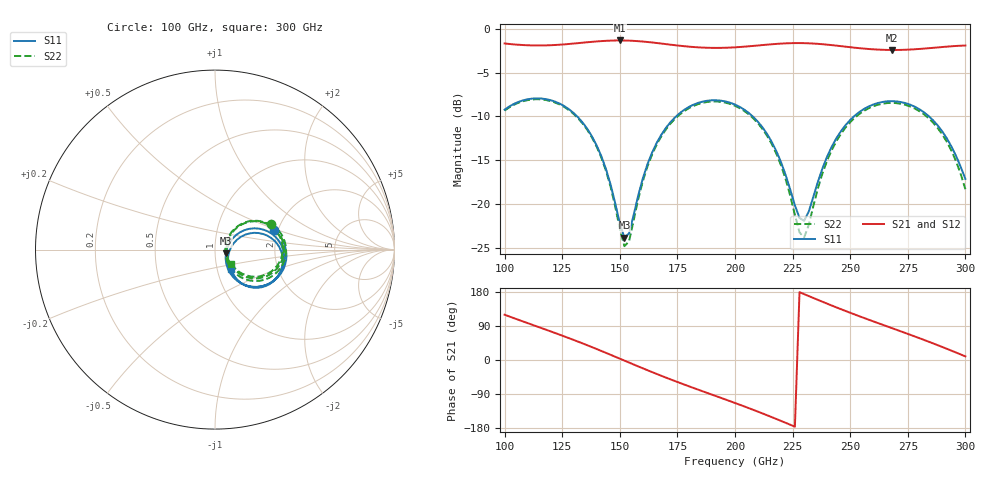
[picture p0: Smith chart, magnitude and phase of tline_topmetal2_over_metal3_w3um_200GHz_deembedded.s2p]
! Created with skrf 2.0.1 (http://scikit-rf.org).
# GHz S DB R 50.0
!freq dBS11 angS11 dBS21 angS21 dBS12 angS12 dBS22 angS22
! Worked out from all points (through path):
!   101 points, 100 GHz to 300 GHz, reference 50 ohm
!   highest |S21| = -1.33 dB at 150 GHz (marker M1); lowest = -2.4 dB at 268 GHz (marker M2)
!   group delay of S21, straight-line fit = 6.56 ps
!   lowest |S11| = -23.9 dB at 152 GHz (marker M3), VSWR 1.14, Z = 56.4 - j2.33 ohm
!   |S11| at or under -10 dB: 131.4 GHz to 174.5 GHz (43.03 GHz wide, 28.1 % of centre); 207.6 GHz to 251.7 GHz (44.03 GHz wide, 19.2 % of centre); 284.2 GHz to end of sweep
!   |S22| runs from -24.8 to -8.0 dB; largest |S21 - S12| = 9.1e-14
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100  -9.24 18.4  -1.67 119.5  -1.67 119.5  -9.34 24.8
118  -8.04 -15.8  -1.89 79.9  -1.89 79.9  -8.14 -8.6
134  -10.76 -45.4  -1.58 43.4  -1.58 43.4  -10.87 -37.8
144  -16.03 -57.2  -1.37 18.8  -1.37 18.8  -16.22 -50.1
150  -22.23 -40.2  -1.33 3.5  -1.33 3.5  -22.86 -33.9
152  -23.88 -18.8  -1.33 -1.6  -1.33 -1.6  -24.84 -10.8
154  -23.38 6.7  -1.35 -6.7  -1.35 -6.7  -24.30 17.9
162  -15.48 34.7  -1.50 -26.9  -1.50 -26.9  -15.74 46.7
168  -12.11 28.6  -1.68 -41.6  -1.68 -41.6  -12.29 40.3
184  -8.46 1.0  -2.12 -78.2  -2.12 -78.2  -8.60 12.6
200  -8.65 -28.0  -2.11 -113.4  -2.11 -113.4  -8.80 -16.3
216  -12.95 -53.1  -1.76 -150.9  -1.76 -150.9  -13.19 -42.5
228  -21.61 -28.0  -1.63 179.0  -1.63 179.0  -23.27 -18.4
230  -21.94 -9.0  -1.64 173.9  -1.64 173.9  -23.85 5.6
234  -19.20 18.7  -1.68 163.7  -1.68 163.7  -20.26 38.5
240  -14.59 26.3  -1.81 148.7  -1.81 148.7  -15.05 45.0
248  -11.00 18.0  -2.04 129.3  -2.04 129.3  -11.27 35.4
258  -8.87 1.8  -2.30 106.4  -2.30 106.4  -9.08 18.4
268  -8.27 -15.5  -2.42 84.4  -2.42 84.4  -8.46 0.6
286  -10.46 -45.0  -2.17 43.8  -2.17 43.8  -10.73 -30.8
294  -13.48 -53.5  -1.99 24.5  -1.99 24.5  -13.96 -41.7
300  -17.16 -49.6  -1.91 9.5  -1.91 9.5  -18.33 -41.0
